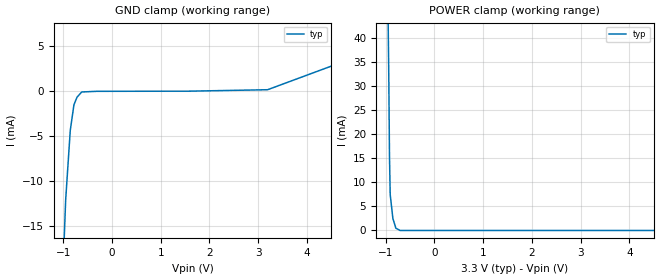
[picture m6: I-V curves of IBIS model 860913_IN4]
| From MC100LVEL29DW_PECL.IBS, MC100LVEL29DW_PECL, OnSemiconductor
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[Model] 860913_IN4
Model_type Input_ECL
Vinl = 2.115V
Vinh = 2.301V
C_comp 600.0fF NA NA
| variable typ   min   max
[Voltage Range]   3.300V  NA  NA
[GND Clamp Reference]   0.000V  NA  NA
[POWER Clamp Reference]  3.300V  NA  NA
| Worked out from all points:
|   GND clamp passes 1 mA (typ) near -0.74 V on its own axis
|   POWER clamp passes 1 mA (typ) near -0.81 V on its own axis
[GND Clamp]
-3.3V     -553.3mA   NA         NA
-1.187V   -52.54mA   NA         NA
-1.053V   -26.86mA   NA         NA
-951mV    -12.16mA   NA         NA
-856.1mV  -4.364mA   NA         NA
-781mV    -1.527mA   NA         NA
-717.7mV  -677.7uA   NA         NA
-620.4mV  -98.81uA   NA         NA
-310.2mV  -24.51uA   NA         NA
1.566V    -10.83uA   NA         NA
3.193V    151.5uA    NA         NA
6.6V      7.009mA    NA         NA
[POWER Clamp]
-3.3V     1.106A     NA         NA
-1.085V   159.7mA    NA         NA
-938mV    31.95mA    NA         NA
-924mV    15.65mA    NA         NA
-909mV    7.461mA    NA         NA
-854mV    2.492mA    NA         NA
-793mV    470uA      NA         NA
-704.9mV  0A         NA         NA
6.6V      0A         NA         NA
